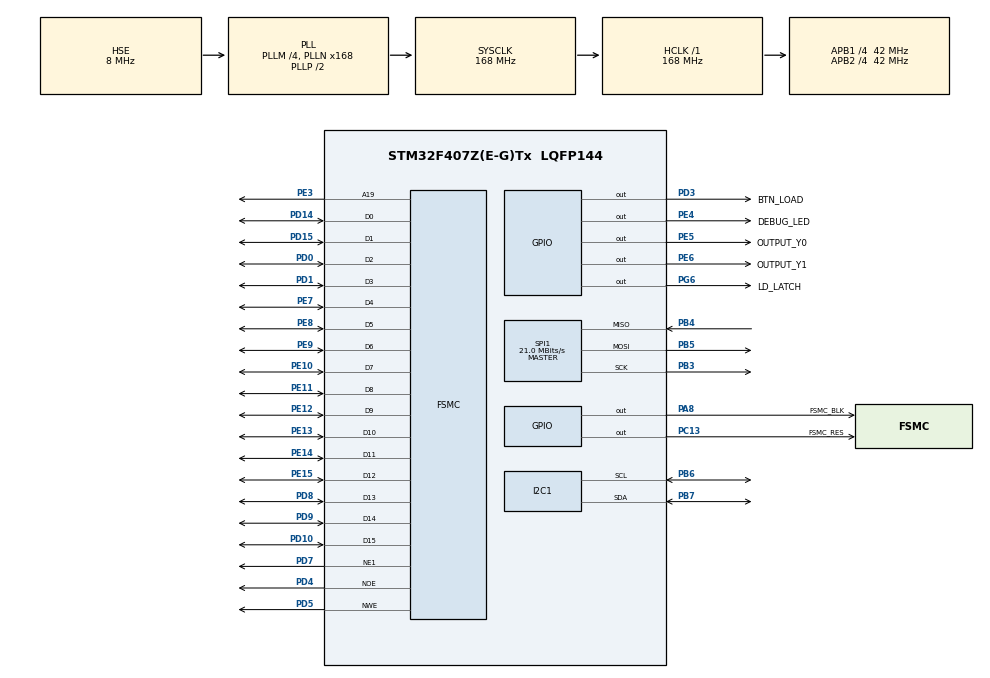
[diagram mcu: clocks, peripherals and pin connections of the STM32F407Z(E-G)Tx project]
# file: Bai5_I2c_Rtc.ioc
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FSMC.AddressSetupTime1=0xf
FSMC.BusTurnAroundDuration1=0
FSMC.DataSetupTime1=60
FSMC.ExtendedAddressSetupTime1=9
FSMC.ExtendedBusTurnAroundDuration1=0
FSMC.ExtendedDataSetupTime1=8
FSMC.ExtendedMode1=FSMC_EXTENDED_MODE_ENABLE
Mcu.Family=STM32F4
Mcu.Name=STM32F407Z(E-G)Tx
Mcu.Package=LQFP144
NVIC.PriorityGroup=NVIC_PRIORITYGROUP_4
NVIC.TIM2_IRQn=true\:0\:0\:false\:false\:true\:true\:true
PA13.Mode=Serial_Wire
PA13.Signal=SYS_JTMS-SWDIO
PA14.Mode=Serial_Wire
PA14.Signal=SYS_JTCK-SWCLK
PA8.GPIO_Label=FSMC_BLK
PA8.Signal=GPIO_Output
PB3.Mode=Full_Duplex_Master
PB3.Signal=SPI1_SCK
PB4.Mode=Full_Duplex_Master
PB4.Signal=SPI1_MISO
PB5.Mode=Full_Duplex_Master
PB5.Signal=SPI1_MOSI
PB6.Mode=I2C
PB6.Signal=I2C1_SCL
PB7.Mode=I2C
PB7.Signal=I2C1_SDA
PC13-ANTI_TAMP.GPIO_Label=FSMC_RES
PC13-ANTI_TAMP.Signal=GPIO_Output
PD0.Signal=FSMC_D2_DA2
PD1.Signal=FSMC_D3_DA3
PD10.Signal=FSMC_D15_DA15
PD14.Signal=FSMC_D0_DA0
PD15.Signal=FSMC_D1_DA1
PD3.GPIO_Label=BTN_LOAD
PD3.Signal=GPIO_Output
PD4.Signal=FSMC_NOE
PD5.Signal=FSMC_NWE
PD7.Mode=NorPsramChipSelect1_1
PD7.Signal=FSMC_NE1
PD8.Signal=FSMC_D13_DA13
PD9.Signal=FSMC_D14_DA14
PE10.Signal=FSMC_D7_DA7
PE11.Signal=FSMC_D8_DA8
PE12.Signal=FSMC_D9_DA9
PE13.Signal=FSMC_D10_DA10
PE14.Signal=FSMC_D11_DA11
PE15.Signal=FSMC_D12_DA12
PE3.Signal=FSMC_A19
PE4.GPIO_Label=DEBUG_LED
PE4.Signal=GPIO_Output
PE5.GPIO_Label=OUTPUT_Y0
PE5.Signal=GPIO_Output
PE6.GPIO_Label=OUTPUT_Y1
PE6.Signal=GPIO_Output
PE7.Signal=FSMC_D4_DA4
PE8.Signal=FSMC_D5_DA5
PE9.Signal=FSMC_D6_DA6
PG6.GPIO_Label=LD_LATCH
PG6.Signal=GPIO_Output
PH0-OSC_IN.Mode=HSE-External-Oscillator
PH0-OSC_IN.Signal=RCC_OSC_IN
PH1-OSC_OUT.Mode=HSE-External-Oscillator
PH1-OSC_OUT.Signal=RCC_OSC_OUT
ProjectManager.HeapSize=0x200
ProjectManager.StackSize=0x400
ProjectManager.TargetToolchain=STM32CubeIDE
RCC.48MHZClocksFreq_Value=84000000
RCC.AHBFreq_Value=168000000
RCC.APB1CLKDivider=RCC_HCLK_DIV4
RCC.APB1Freq_Value=42000000
RCC.APB1TimFreq_Value=84000000
RCC.APB2CLKDivider=RCC_HCLK_DIV4
RCC.APB2Freq_Value=42000000
RCC.APB2TimFreq_Value=84000000
RCC.CortexFreq_Value=168000000
RCC.HCLKFreq_Value=168000000
RCC.HSE_VALUE=8000000
RCC.HSI_VALUE=16000000
RCC.LSE_VALUE=32768
RCC.PLLM=4
RCC.PLLN=168
RCC.PLLSourceVirtual=RCC_PLLSOURCE_HSE
RCC.SYSCLKFreq_VALUE=168000000
RCC.SYSCLKSource=RCC_SYSCLKSOURCE_PLLCLK
RCC.VCOOutputFreq_Value=336000000
SH.FSMC_A19.0=FSMC_A19,A19_1
SH.FSMC_D0_DA0.0=FSMC_D0,16b-d1
SH.FSMC_D10_DA10.0=FSMC_D10,16b-d1
SH.FSMC_D11_DA11.0=FSMC_D11,16b-d1
SH.FSMC_D12_DA12.0=FSMC_D12,16b-d1
SH.FSMC_D13_DA13.0=FSMC_D13,16b-d1
SH.FSMC_D14_DA14.0=FSMC_D14,16b-d1
SH.FSMC_D15_DA15.0=FSMC_D15,16b-d1
SH.FSMC_D1_DA1.0=FSMC_D1,16b-d1
SH.FSMC_D2_DA2.0=FSMC_D2,16b-d1
SH.FSMC_D3_DA3.0=FSMC_D3,16b-d1
SH.FSMC_D4_DA4.0=FSMC_D4,16b-d1
SH.FSMC_D5_DA5.0=FSMC_D5,16b-d1
SH.FSMC_D6_DA6.0=FSMC_D6,16b-d1
SH.FSMC_D7_DA7.0=FSMC_D7,16b-d1
SH.FSMC_D8_DA8.0=FSMC_D8,16b-d1
SH.FSMC_D9_DA9.0=FSMC_D9,16b-d1
SH.FSMC_NOE.0=FSMC_NOE,Lcd1
SH.FSMC_NWE.0=FSMC_NWE,Lcd1
SPI1.CalculateBaudRate=21.0 MBits/s
SPI1.Direction=SPI_DIRECTION_2LINES
SPI1.Mode=SPI_MODE_MASTER
SPI1.VirtualType=VM_MASTER
TIM2.Period=100-1
TIM2.Prescaler=840-1
VP_TIM2_VS_ClockSourceINT.Mode=Internal
board=custom

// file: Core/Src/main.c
/* USER CODE BEGIN Header */
/**
  ******************************************************************************
  * @file           : main.c
  * @brief          : Main program body
  ******************************************************************************
  * @attention
  *
  * <h2><center>&copy; Copyright (c) 2023 STMicroelectronics.
  * All rights reserved.</center></h2>
  *
  * This software component is licensed by ST under BSD 3-Clause license,
  * the "License"; You may not use this file except in compliance with the
  * License. You may obtain a copy of the License at:
  *                        opensource.org/licenses/BSD-3-Clause
  *
  ******************************************************************************
  */
/* USER CODE END Header */
#include "main.h"
#include "i2c.h"
#include "spi.h"
#include "tim.h"
#include "gpio.h"
#include "fsmc.h"

/* USER CODE BEGIN Includes */
#include "software_timer.h"
#include "button.h"
#include "led7seg.h"
#include "lcd.h"
#include "picture.h"
#include "ds3231.h"
/* USER CODE END Includes */

/* USER CODE BEGIN PV */
uint8_t count_led_debug = 0;
/* USER CODE END PV */

void SystemClock_Config(void);
/* USER CODE BEGIN PFP */
void system_init();
void test_LedDebug();
void displayTime();
/* USER CODE END PFP */

int main(void)
{

  /* MCU Configuration--------------------------------------------------------*/

  /* Reset of all peripherals, Initializes the Flash interface and the Systick. */
  HAL_Init();

  /* Configure the system clock */
  SystemClock_Config();

  /* Initialize all configured peripherals */
  MX_GPIO_Init();
  MX_TIM2_Init();
  MX_SPI1_Init();
  MX_FSMC_Init();
  MX_I2C1_Init();
  /* USER CODE BEGIN 2 */
  system_init();
  led7_SetDigit(9, 0, 0);
  led7_SetDigit(4, 1, 1);
  led7_SetDigit(2, 2, 0);
  led7_SetDigit(7, 3, 0);
  led7_SetColon(0);
  led_On(6);
  led_Off(7);
  led_On(8);
//  lcd_ShowBackground();
  HAL_Delay(2000);
  lcd_Clear(BLACK);
  HAL_Delay(1000);
  lcd_Fill(0, 0, 240, 20, BLUE);
  lcd_StrCenter(0, 0, "Xin chao cac ban", WHITE, BLUE, 16, 0);
  lcd_ShowStr(30, 30, "Ten: Thinh", RED, YELLOW, 24, 0);
  lcd_ShowStr(30, 60, "Nam sinh:", GREEN, BLACK, 24, 0);
  lcd_ShowIntNum(150, 60, 2002, 4, BRED, BLACK, 24);

  lcd_ShowPicture(70, 200, 97, 100, gImage_bk);
  HAL_Delay(2000);

  /* USER CODE END 2 */

  /* Infinite loop */
  /* USER CODE BEGIN WHILE */
  while (1)
  {
	  while(!flag_timer2);
	  flag_timer2 = 0;
	  button_Scan();
	  displayTime();
    /* USER CODE END WHILE */

  }
}

void SystemClock_Config(void)
{
  RCC_OscInitTypeDef RCC_OscInitStruct = {0};
  RCC_ClkInitTypeDef RCC_ClkInitStruct = {0};

  /** Configure the main internal regulator output voltage
  */
  __HAL_RCC_PWR_CLK_ENABLE();
  __HAL_PWR_VOLTAGESCALING_CONFIG(PWR_REGULATOR_VOLTAGE_SCALE1);
  /** Initializes the RCC Oscillators according to the specified parameters
  * in the RCC_OscInitTypeDef structure.
  */
  RCC_OscInitStruct.OscillatorType = RCC_OSCILLATORTYPE_HSE;
  RCC_OscInitStruct.HSEState = RCC_HSE_ON;
  RCC_OscInitStruct.PLL.PLLState = RCC_PLL_ON;
  RCC_OscInitStruct.PLL.PLLSource = RCC_PLLSOURCE_HSE;
  RCC_OscInitStruct.PLL.PLLM = 4;
  RCC_OscInitStruct.PLL.PLLN = 168;
  RCC_OscInitStruct.PLL.PLLP = RCC_PLLP_DIV2;
  RCC_OscInitStruct.PLL.PLLQ = 4;
  if (HAL_RCC_OscConfig(&RCC_OscInitStruct) != HAL_OK)
  {
    Error_Handler();
  }
  /** Initializes the CPU, AHB and APB buses clocks
  */
  RCC_ClkInitStruct.ClockType = RCC_CLOCKTYPE_HCLK|RCC_CLOCKTYPE_SYSCLK
                              |RCC_CLOCKTYPE_PCLK1|RCC_CLOCKTYPE_PCLK2;
  RCC_ClkInitStruct.SYSCLKSource = RCC_SYSCLKSOURCE_PLLCLK;
  RCC_ClkInitStruct.AHBCLKDivider = RCC_SYSCLK_DIV1;
  RCC_ClkInitStruct.APB1CLKDivider = RCC_HCLK_DIV4;
  RCC_ClkInitStruct.APB2CLKDivider = RCC_HCLK_DIV4;

  if (HAL_RCC_ClockConfig(&RCC_ClkInitStruct, FLASH_LATENCY_5) != HAL_OK)
  {
    Error_Handler();
  }
}

/* USER CODE BEGIN 4 */
void system_init(){
	  HAL_GPIO_WritePin(OUTPUT_Y0_GPIO_Port, OUTPUT_Y0_Pin, 0);
	  HAL_GPIO_WritePin(OUTPUT_Y1_GPIO_Port, OUTPUT_Y1_Pin, 0);
	  HAL_GPIO_WritePin(DEBUG_LED_GPIO_Port, DEBUG_LED_Pin, 0);
	  timer_init();
	  led7_init();
	  button_init();
	  lcd_init();
	  ds3231_init();
	  setTimer2(50);
	  HAL_Delay(1000);
}

void test_LedDebug(){
	count_led_debug = (count_led_debug + 1)%20;
	if(count_led_debug == 0){
		HAL_GPIO_TogglePin(DEBUG_LED_GPIO_Port, DEBUG_LED_Pin);
	}
}

void displayTime(){
	ds3231_ReadTime();
	lcd_ShowIntNum(70, 100, ds3231_hours, 2, GREEN, BLACK, 24);
	if(ds3231_hours < 10) lcd_ShowIntNum(70, 100, 0, 1, GREEN, BLACK, 24);
	lcd_ShowChar(95, 100, ':', WHITE, BLACK, 24, 0);
	lcd_ShowIntNum(110, 100, ds3231_min, 2, GREEN, BLACK, 24);
	if(ds3231_min < 10) lcd_ShowIntNum(110, 100, 0, 1, GREEN, BLACK, 24);
	lcd_ShowChar(135, 100, ':', WHITE, BLACK, 24, 0);
	lcd_ShowIntNum(150, 100, ds3231_sec, 2, GREEN, BLACK, 24);
	if(ds3231_sec < 10) lcd_ShowIntNum(150, 100, 0, 1, GREEN, BLACK, 24);

	lcd_ShowIntNum(20, 130, ds3231_day, 2, YELLOW, BLACK, 24);
	lcd_ShowIntNum(70, 130, ds3231_date, 2, YELLOW, BLACK, 24);
	if(ds3231_date < 10) lcd_ShowIntNum(70, 130, 0, 1, YELLOW, BLACK, 24);
	lcd_ShowChar(95, 130, '/', WHITE, BLACK, 24, 0);
	lcd_ShowIntNum(110, 130, ds3231_month, 2, YELLOW, BLACK, 24);
	if(ds3231_month < 10) lcd_ShowIntNum(110, 130, 0, 1, YELLOW, BLACK, 24);
	lcd_ShowChar(135, 130, '/', WHITE, BLACK, 24, 0);
	lcd_ShowIntNum(150, 130, 2000+ds3231_year, 4, YELLOW, BLACK, 24);
}
/* USER CODE END 4 */

void Error_Handler(void)
{
  __disable_irq();
  while (1)
  {
  }
}

/************************ (C) COPYRIGHT STMicroelectronics *****END OF FILE****/
